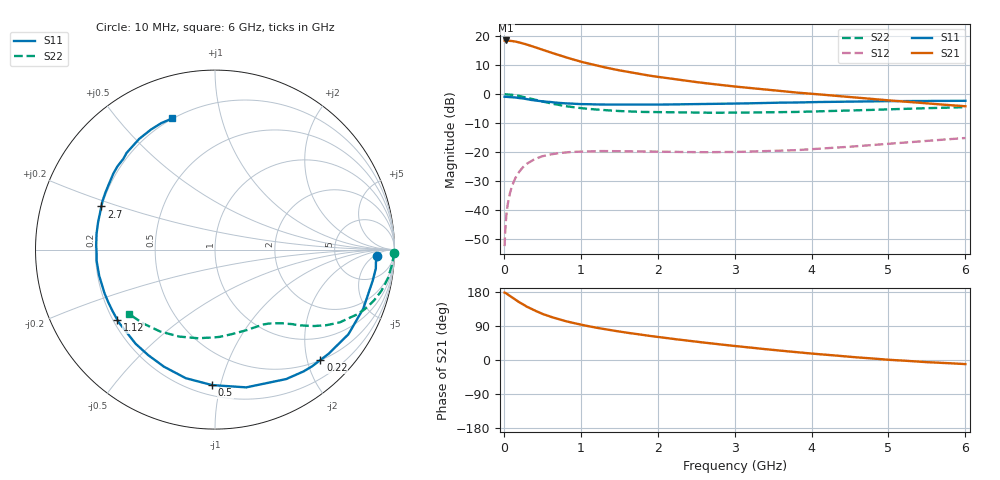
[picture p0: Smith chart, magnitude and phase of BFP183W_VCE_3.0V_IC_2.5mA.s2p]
! Infineon Technologies  Discrete & RF Semiconductors
! BFP183W
! VCE = 3.0 V,  IC =  2.5 mA
! Common Emitter S-Parameters:  Jan 2016
# GHz  S  MA  R  50
!  f  S11  S21  S12  S22
! GHz  MAG  ANG  MAG  ANG  MAG  ANG  MAG  ANG
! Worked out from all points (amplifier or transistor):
!   210 points, 10 MHz to 6 GHz, reference 50 ohm
!   highest |S21| = 18.5 dB at 30 MHz (marker M1)
!   |S21| within 3 dB of that: start of sweep to 479.7 MHz
!   unconditionally stable (mu >= 1): 2.229 GHz to end of sweep
!   at 185 MHz: K = 0.10, MSG = 22.6 dB, |S12| = -27.4 dB
!   at 1.52 GHz: K = 0.71, MSG = 13.9 dB, |S12| = -19.7 dB
!   at 6 GHz: K = 1.03, MAG = 4.5 dB, |S12| = -15.1 dB
!   S11 on the Smith chart (normalised r, x): 10 MHz: 17, -7; 220 MHz: 0.51, -2.24; 500 MHz: 0.27, -0.94; 1.12 GHz: 0.22, -0.31; 2.7 GHz: 0.20, +0.18; 6 GHz: 0.20, +0.71
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0.01  0.9047 -2.2  8.369 177.8  0.0024 89.1  0.9976 -1.0
0.02  0.8994 -4.4  8.397 177.3  0.005 86.8  0.9923 -1.9
0.03  0.9022 -6.7  8.428 175.9  0.0074 87.7  0.9941 -2.8
0.075  0.8886 -16.4  8.299 169.5  0.0185 80.0  0.9831 -6.9
0.15  0.8804 -32.4  8.085 158.9  0.0358 71.6  0.9571 -13.7
0.2  0.8587 -42.5  7.791 152.4  0.0459 66.7  0.9303 -17.7
0.22  0.8504 -46.3  7.67 150.2  0.0496 64.3  0.9182 -19.2
0.3  0.8231 -61.2  7.159 140.6  0.0633 56.6  0.8678 -24.7
0.4  0.7871 -77.2  6.495 130.6  0.0759 48.5  0.8052 -30.2
0.5  0.7551 -91.2  5.847 121.8  0.0851 42.3  0.7482 -34.3
0.6  0.7347 -102.8  5.277 114.6  0.0912 37.0  0.6979 -37.6
0.7  0.7116 -113.6  4.79 108.3  0.0959 32.8  0.6575 -40.1
0.84  0.6904 -125.5  4.184 100.8  0.1 28.2  0.6127 -43.1
1.02  0.673 -138.3  3.576 92.6  0.1025 23.8  0.5717 -46.2
1.12  0.6703 -144.2  3.322 88.5  0.1037 21.9  0.555 -47.7
1.46  0.6604 -161.0  2.64 76.5  0.1041 17.7  0.5166 -52.9
2.02  0.6624 177.9  1.973 60.4  0.1021 16.1  0.4884 -61.4
2.7  0.6772 159.2  1.503 43.8  0.1002 19.0  0.4791 -73.3
3.1  0.6916 150.0  1.317 35.0  0.1016 22.0  0.481 -81.0
4.1  0.7324 130.8  0.991 15.4  0.115 30.5  0.5052 -103.0
5.1  0.7592 117.0  0.764 -0.5  0.1427 34.8  0.5526 -125.9
6  0.7688 108.0  0.619 -10.8  0.1756 34.7  0.598 -143.0
